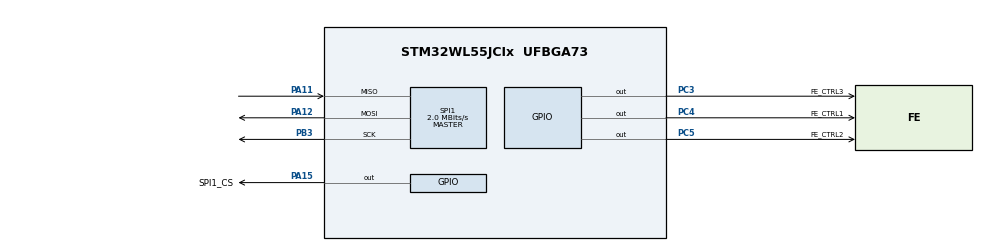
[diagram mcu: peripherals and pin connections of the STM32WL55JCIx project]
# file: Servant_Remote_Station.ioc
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Mcu.Family=STM32WL
Mcu.Name=STM32WL55JCIx
Mcu.Package=UFBGA73
NUCLEO-WL55JC1.BUTTON=1
NUCLEO-WL55JC1.BUTTON2=1
NUCLEO-WL55JC1.BUTTON3=1
NUCLEO-WL55JC1.VCP=true
NVIC.EXTI0_IRQn=true\:0\:0\:false\:false\:true\:false\:true\:true
NVIC.EXTI1_IRQn=true\:0\:0\:false\:false\:true\:false\:true\:true
NVIC.EXTI9_5_IRQn=true\:0\:0\:false\:false\:true\:false\:true\:true
NVIC.PriorityGroup=NVIC_PRIORITYGROUP_4
NVIC.SUBGHZ_Radio_IRQn=true\:0\:0\:false\:false\:true\:true\:true\:true
PA11.Mode=Full_Duplex_Master
PA11.Signal=SPI1_MISO
PA12.Mode=Full_Duplex_Master
PA12.Signal=SPI1_MOSI
PA15.GPIO_Label=SPI1_CS
PA15.Signal=GPIO_Output
PA2.Signal=USART2_TX
PA3.Signal=USART2_RX
PB3.Mode=Full_Duplex_Master
PB3.Signal=SPI1_SCK
PC14-OSC32_IN.GPIO_Label=RCC_OSC32_IN
PC14-OSC32_IN.Mode=LSE-External-Oscillator
PC14-OSC32_IN.Signal=RCC_OSC32_IN
PC15-OSC32_OUT.GPIO_Label=RCC_OSC32_OUT
PC15-OSC32_OUT.Mode=LSE-External-Oscillator
PC15-OSC32_OUT.Signal=RCC_OSC32_OUT
PC3.GPIO_Label=FE_CTRL3
PC3.GPIO_Speed=GPIO_SPEED_FREQ_VERY_HIGH
PC3.Signal=GPIO_Output
PC4.GPIO_Label=FE_CTRL1
PC4.GPIO_Speed=GPIO_SPEED_FREQ_VERY_HIGH
PC4.Signal=GPIO_Output
PC5.GPIO_Label=FE_CTRL2
PC5.GPIO_Speed=GPIO_SPEED_FREQ_VERY_HIGH
PC5.Signal=GPIO_Output
ProjectManager.HeapSize=0x200
ProjectManager.StackSize=0x400
ProjectManager.TargetToolchain=Makefile
RCC.HSE_VALUE=32000000
RCC.HSI_VALUE=16000000
RCC.LSE_VALUE=32768
RCC.VCOOutputFreq_Value=32000000
RTC.BinMode=RTC_BINARY_NONE
RTC.Format=RTC_FORMAT_BIN
SPI1.CalculateBaudRate=2.0 MBits/s
SPI1.DataSize=SPI_DATASIZE_8BIT
SPI1.Direction=SPI_DIRECTION_2LINES
SPI1.Mode=SPI_MODE_MASTER
SPI1.VirtualType=VM_MASTER
SUBGHZ.BaudratePrescaler=SUBGHZSPI_BAUDRATEPRESCALER_4
SUBGHZ_PHY.SUBGHZ_APPLICATION=SUBGHZ_USER_APPLICATION
SUBGHZ_PHY.USE_LPM=false
SUBGHZ_PHY.USE_RTC=false
VP_ADV_TRACE_VS_ADV_TRACE.Mode=ADV_TRACE_Enabled
VP_MISC_VS_MISC.Mode=MISC_Enabled
VP_NUCLEO-WL55JC1_VS_BSP_COMMON.Mode=COMMON
VP_RTC_VS_RTC_Activate.Mode=RTC_Enabled
VP_RTC_VS_RTC_Calendar.Mode=RTC_Calendar
VP_SEQUENCER_M4_VS_SEQUENCER.Mode=SEQUENCER_Enabled
VP_SUBGHZ_PHY_VS_SubGhzPhy.Mode=SubGhzPhy_Enabled
VP_SUBGHZ_VS_SUBGHZ.Mode=SUBGHZ_Activate
VP_TIMER_VS_TIMER.Mode=TIMER_Enabled
VP_TINY_LPM_VS_TINY_LPM.Mode=TINY_LPM_Enabled
board=NUCLEO-WL55JC1

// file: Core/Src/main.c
/* USER CODE BEGIN Header */
/**
 ******************************************************************************
 * @file           : main.c
 * @brief          : Main program body
 ******************************************************************************
 * @attention
 *
 * Copyright (c) 2026 STMicroelectronics.
 * All rights reserved.
 *
 * This software is licensed under terms that can be found in the LICENSE file
 * in the root directory of this software component.
 * If no LICENSE file comes with this software, it is provided AS-IS.
 *
 ******************************************************************************
 */
/* USER CODE END Header */
#include "main.h"

/* USER CODE BEGIN Includes */
#include "../../SubGHz_Phy/App/app_subghz_phy.h"
#include "../../SubGHz_Phy/App/subghz_phy_app.h"
#include "BME280.h"
#include "stm32wlxx_hal.h"
#include <stdint.h>
#include <stdio.h>
/* USER CODE END Includes */

COM_InitTypeDef BspCOMInit;
RTC_HandleTypeDef hrtc;

SPI_HandleTypeDef hspi1;

SUBGHZ_HandleTypeDef hsubghz;

void SystemClock_Config(void);
static void MX_GPIO_Init(void);
static void MX_SPI1_Init(void);
static void MX_RTC_Init(void);

/* USER CODE BEGIN 0 */
struct BME280 sensor = {0};
const uint8_t NODE_ID = 0;
const uint32_t timeBetweenSendsMS = 5000U;
/* USER CODE END 0 */

int main(void) {

  /* USER CODE BEGIN 1 */
  struct weatherData data = {0};
  /* USER CODE END 1 */

  /* MCU Configuration--------------------------------------------------------*/

  /* Reset of all peripherals, Initializes the Flash interface and the */

  HAL_Init();

  /* Configure the system clock */
  SystemClock_Config();

  /* Initialize all configured peripherals */
  MX_GPIO_Init();
  MX_SPI1_Init();
  MX_SubGHz_Phy_Init();
  MX_RTC_Init();

  /* Initialize USER push-button, will be used to trigger an interrupt*/

  BSP_PB_Init(BUTTON_SW1, BUTTON_MODE_EXTI);
  BSP_PB_Init(BUTTON_SW2,

              BUTTON_MODE_EXTI);
  BSP_PB_Init(BUTTON_SW3, BUTTON_MODE_EXTI);

  BspCOMInit.BaudRate = 115200;
  BspCOMInit.WordLength = COM_WORDLENGTH_8B;
  BspCOMInit.StopBits = COM_STOPBITS_1;
  BspCOMInit.Parity = COM_PARITY_NONE;
  BspCOMInit.HwFlowCtl = COM_HWCONTROL_NONE;
  if (BSP_COM_Init(COM1, &BspCOMInit) != BSP_ERROR_NONE) {
    Error_Handler();
  }

  /* Infinite loop */
  /* USER CODE BEGIN WHILE */
  initBME280(&sensor, &hspi1, SPI1_CS_GPIO_Port, SPI1_CS_Pin);
  uint32_t lastSend = 0;
  while (1) {
    MX_SubGHz_Phy_Process();
    if (HAL_GetTick() - lastSend >= timeBetweenSendsMS) {
      lastSend = HAL_GetTick();
      if (!packetACKED) {
        sendWeatherData(&data, NODE_ID, &hrtc);
        printf("TX: sendWeatherData returned from no ACK\r\n");
      } else {
        readWeatherData(&sensor, &data);
        sendWeatherData(&data, NODE_ID, &hrtc);
        printf("TX: sendWeatherData returned\r\n");
      }
    }
    /* USER CODE END WHILE */
    MX_SubGHz_Phy_Process();

  }
}

void SystemClock_Config(void) {
  RCC_OscInitTypeDef RCC_OscInitStruct = {0};
  RCC_ClkInitTypeDef RCC_ClkInitStruct = {0};

  /** Configure LSE Drive Capability
   */
  HAL_PWR_EnableBkUpAccess();
  __HAL_RCC_LSEDRIVE_CONFIG(RCC_LSEDRIVE_LOW);

  /** Configure the main internal regulator output voltage
   */
  __HAL_PWR_VOLTAGESCALING_CONFIG(PWR_REGULATOR_VOLTAGE_SCALE2);

  /** Initializes the CPU, AHB and APB buses clocks
   */
  RCC_OscInitStruct.OscillatorType =
      RCC_OSCILLATORTYPE_LSI | RCC_OSCILLATORTYPE_LSE | RCC_OSCILLATORTYPE_MSI;
  RCC_OscInitStruct.LSEState = RCC_LSE_ON;
  RCC_OscInitStruct.MSIState = RCC_MSI_ON;
  RCC_OscInitStruct.MSICalibrationValue = RCC_MSICALIBRATION_DEFAULT;
  RCC_OscInitStruct.MSIClockRange = RCC_MSIRANGE_6;
  RCC_OscInitStruct.LSIDiv = RCC_LSI_DIV1;
  RCC_OscInitStruct.LSIState = RCC_LSI_ON;
  RCC_OscInitStruct.PLL.PLLState = RCC_PLL_NONE;
  if (HAL_RCC_OscConfig(&RCC_OscInitStruct) != HAL_OK) {
    Error_Handler();
  }

  /** Configure the SYSCLKSource, HCLK, PCLK1 and PCLK2 clocks dividers
   */
  RCC_ClkInitStruct.ClockType = RCC_CLOCKTYPE_HCLK3 | RCC_CLOCKTYPE_HCLK |
                                RCC_CLOCKTYPE_SYSCLK | RCC_CLOCKTYPE_PCLK1 |
                                RCC_CLOCKTYPE_PCLK2;
  RCC_ClkInitStruct.SYSCLKSource = RCC_SYSCLKSOURCE_MSI;
  RCC_ClkInitStruct.AHBCLKDivider = RCC_SYSCLK_DIV1;
  RCC_ClkInitStruct.APB1CLKDivider = RCC_HCLK_DIV1;
  RCC_ClkInitStruct.APB2CLKDivider = RCC_HCLK_DIV1;
  RCC_ClkInitStruct.AHBCLK3Divider = RCC_SYSCLK_DIV1;

  if (HAL_RCC_ClockConfig(&RCC_ClkInitStruct, FLASH_LATENCY_0) != HAL_OK) {
    Error_Handler();
  }
}

static void MX_RTC_Init(void) {

  RTC_TimeTypeDef sTime = {0};
  RTC_DateTypeDef sDate = {0};

  /** Initialize RTC Only
   */
  hrtc.Instance = RTC;
  hrtc.Init.HourFormat = RTC_HOURFORMAT_24;
  hrtc.Init.AsynchPrediv = 127;
  hrtc.Init.SynchPrediv = 255;
  hrtc.Init.OutPut = RTC_OUTPUT_DISABLE;
  hrtc.Init.OutPutRemap = RTC_OUTPUT_REMAP_NONE;
  hrtc.Init.OutPutPolarity = RTC_OUTPUT_POLARITY_HIGH;
  hrtc.Init.OutPutType = RTC_OUTPUT_TYPE_OPENDRAIN;
  hrtc.Init.OutPutPullUp = RTC_OUTPUT_PULLUP_NONE;
  hrtc.Init.BinMode = RTC_BINARY_NONE;
  if (HAL_RTC_Init(&hrtc) != HAL_OK) {
    Error_Handler();
  }

  /** Initialize RTC and set the Time and Date
   */
  sTime.Hours = 0;
  sTime.Minutes = 0;
  sTime.Seconds = 0;
  sTime.DayLightSaving = RTC_DAYLIGHTSAVING_NONE;
  sTime.StoreOperation = RTC_STOREOPERATION_RESET;
  if (HAL_RTC_SetTime(&hrtc, &sTime, RTC_FORMAT_BIN) != HAL_OK) {
    Error_Handler();
  }
  sDate.WeekDay = RTC_WEEKDAY_MONDAY;
  sDate.Month = RTC_MONTH_JANUARY;
  sDate.Date = 1;
  sDate.Year = 0;

  if (HAL_RTC_SetDate(&hrtc, &sDate, RTC_FORMAT_BIN) != HAL_OK) {
    Error_Handler();
  }
}

static void MX_SPI1_Init(void) {

  /* SPI1 parameter configuration*/
  hspi1.Instance = SPI1;
  hspi1.Init.Mode = SPI_MODE_MASTER;
  hspi1.Init.Direction = SPI_DIRECTION_2LINES;
  hspi1.Init.DataSize = SPI_DATASIZE_8BIT;
  hspi1.Init.CLKPolarity = SPI_POLARITY_LOW;
  hspi1.Init.CLKPhase = SPI_PHASE_1EDGE;
  hspi1.Init.NSS = SPI_NSS_SOFT;
  hspi1.Init.BaudRatePrescaler = SPI_BAUDRATEPRESCALER_2;
  hspi1.Init.FirstBit = SPI_FIRSTBIT_MSB;
  hspi1.Init.TIMode = SPI_TIMODE_DISABLE;
  hspi1.Init.CRCCalculation = SPI_CRCCALCULATION_DISABLE;
  hspi1.Init.CRCPolynomial = 7;
  hspi1.Init.CRCLength = SPI_CRC_LENGTH_DATASIZE;
  hspi1.Init.NSSPMode = SPI_NSS_PULSE_ENABLE;
  if (HAL_SPI_Init(&hspi1) != HAL_OK) {
    Error_Handler();
  }
}

void MX_SUBGHZ_Init(void) {

  hsubghz.Init.BaudratePrescaler = SUBGHZSPI_BAUDRATEPRESCALER_4;
  if (HAL_SUBGHZ_Init(&hsubghz) != HAL_OK) {
    Error_Handler();
  }
}

static void MX_GPIO_Init(void) {
  GPIO_InitTypeDef GPIO_InitStruct = {0};

  /* GPIO Ports Clock Enable */
  __HAL_RCC_GPIOA_CLK_ENABLE();
  __HAL_RCC_GPIOC_CLK_ENABLE();
  __HAL_RCC_GPIOB_CLK_ENABLE();

  /*Configure GPIO pin Output Level */
  HAL_GPIO_WritePin(SPI1_CS_GPIO_Port, SPI1_CS_Pin, GPIO_PIN_RESET);

  /*Configure GPIO pin Output Level */
  HAL_GPIO_WritePin(GPIOC, FE_CTRL3_Pin | FE_CTRL2_Pin | FE_CTRL1_Pin,
                    GPIO_PIN_RESET);

  /*Configure GPIO pin : SPI1_CS_Pin */
  GPIO_InitStruct.Pin = SPI1_CS_Pin;
  GPIO_InitStruct.Mode = GPIO_MODE_OUTPUT_PP;
  GPIO_InitStruct.Pull = GPIO_NOPULL;
  GPIO_InitStruct.Speed = GPIO_SPEED_FREQ_LOW;
  HAL_GPIO_Init(SPI1_CS_GPIO_Port, &GPIO_InitStruct);

  /*Configure GPIO pins : FE_CTRL3_Pin FE_CTRL2_Pin FE_CTRL1_Pin */
  GPIO_InitStruct.Pin = FE_CTRL3_Pin | FE_CTRL2_Pin | FE_CTRL1_Pin;
  GPIO_InitStruct.Mode = GPIO_MODE_OUTPUT_PP;
  GPIO_InitStruct.Pull = GPIO_NOPULL;
  GPIO_InitStruct.Speed = GPIO_SPEED_FREQ_VERY_HIGH;
  HAL_GPIO_Init(GPIOC, &GPIO_InitStruct);

}

void Error_Handler(void) {
  __disable_irq();
  while (1) {
  }
}
